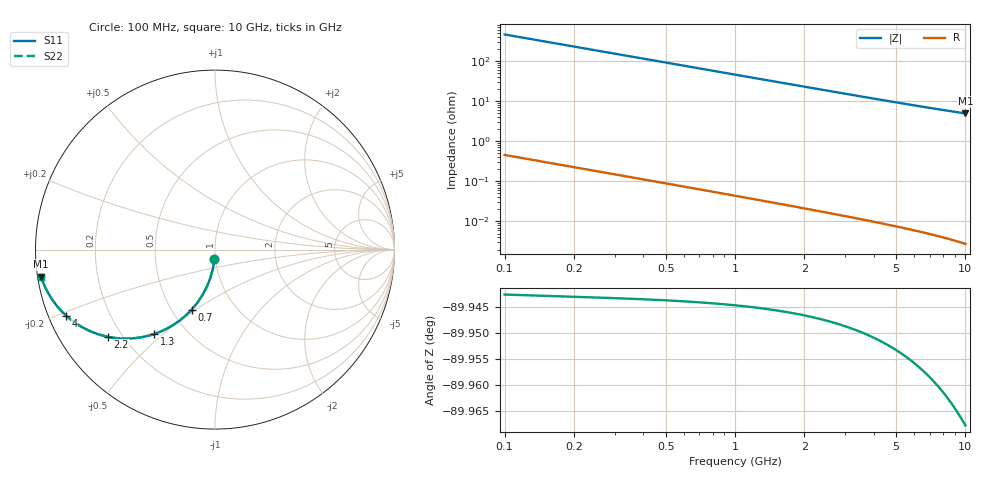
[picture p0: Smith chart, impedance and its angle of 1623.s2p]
# Hz S RI R 50.00
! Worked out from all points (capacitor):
!   100 points, 100 MHz to 10 GHz, reference 50 ohm
!   read as one part in shunt: C = 3.51 pF near 100 MHz
!   lowest |Z| = 4.92 ohm at 10 GHz (marker M1)
!   S11 on the Smith chart (normalised r, x): 100 MHz: 0.99, -0.11; 700 MHz: 0.63, -0.48; 1.3 GHz: 0.33, -0.47; 2.2 GHz: 0.15, -0.35; 4 GHz: 0.05, -0.21; 10 GHz: 0.01, -0.08
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1e8  -0.003 -0.0547  0.9968 -0.0551  0.9968 -0.0551  -0.003 -0.0547
2e8  -0.012 -0.1085  0.9878 -0.1093  0.9878 -0.1093  -0.012 -0.1085
3e8  -0.0267 -0.1603  0.9732 -0.1615  0.9732 -0.1615  -0.0267 -0.1603
4e8  -0.0465 -0.2094  0.9534 -0.2109  0.9534 -0.2109  -0.0465 -0.2094
5e8  -0.0707 -0.255  0.9291 -0.257  0.9291 -0.257  -0.0707 -0.255
6e8  -0.0987 -0.2968  0.9011 -0.2991  0.9011 -0.2991  -0.0987 -0.2968
7e8  -0.1297 -0.3342  0.8701 -0.337  0.8701 -0.337  -0.1297 -0.3342
8e8  -0.1629 -0.3673  0.8369 -0.3704  0.8369 -0.3704  -0.1629 -0.3673
1e9  -0.2332 -0.4205  0.7667 -0.4243  0.7667 -0.4243  -0.2332 -0.4205
1.3e9  -0.3394 -0.4705  0.6604 -0.4755  0.6604 -0.4755  -0.3394 -0.4705
1.5e9  -0.4061 -0.4877  0.5937 -0.4935  0.5937 -0.4935  -0.4061 -0.4877
1.8e9  -0.4962 -0.496  0.5036 -0.503  0.5036 -0.503  -0.4962 -0.496
2.2e9  -0.5954 -0.486  0.4044 -0.4946  0.4044 -0.4946  -0.5954 -0.486
2.5e9  -0.6552 -0.4699  0.3445 -0.4796  0.3445 -0.4796  -0.6552 -0.4699
2.8e9  -0.7046 -0.4502  0.2952 -0.4611  0.2952 -0.4611  -0.7046 -0.4502
3.4e9  -0.7788 -0.4078  0.2209 -0.4211  0.2209 -0.4211  -0.7788 -0.4078
4e9  -0.8299 -0.3672  0.1698 -0.3829  0.1698 -0.3829  -0.8299 -0.3672
4.5e9  -0.8609 -0.3365  0.1388 -0.3543  0.1388 -0.3543  -0.8609 -0.3365
5.1e9  -0.8884 -0.3039  0.1112 -0.3241  0.1112 -0.3241  -0.8884 -0.3039
6.7e9  -0.9327 -0.2362  0.0668 -0.263  0.0668 -0.263  -0.9327 -0.2362
8.4e9  -0.9565 -0.1854  0.0427 -0.2196  0.0427 -0.2196  -0.9565 -0.1854
1e10  -0.9692 -0.15  0.0297 -0.1913  0.0297 -0.1913  -0.9692 -0.15
